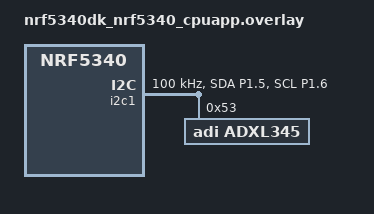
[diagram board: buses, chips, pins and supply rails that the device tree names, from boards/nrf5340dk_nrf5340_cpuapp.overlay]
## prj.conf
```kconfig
# enable c++ support
CONFIG_CPLUSPLUS=y
CONFIG_LIB_CPLUSPLUS=y
CONFIG_NEWLIB_LIBC=y
CONFIG_NEWLIB_LIBC_FLOAT_PRINTF=y

# enable reboot from user space
CONFIG_REBOOT=y

CONFIG_FPU=y
CONFIG_MAIN_STACK_SIZE=8192
CONFIG_HEAP_MEM_POOL_SIZE=2048
CONFIG_SYSTEM_WORKQUEUE_STACK_SIZE=8192

# serial console
CONFIG_UART_INTERRUPT_DRIVEN=y
CONFIG_CONSOLE_SUBSYS=n

# i2c/sensor configuration for accelerometer
CONFIG_I2C=y
CONFIG_SENSOR=y
CONFIG_CBPRINTF_FP_SUPPORT=y

# enable PDM driver
CONFIG_NRFX_PDM=y

CONFIG_ASSERT=y
CONFIG_DEBUG=y
CONFIG_LOG=y
CONFIG_USE_SEGGER_RTT=y
CONFIG_LOG_BACKEND_RTT=y
CONFIG_LOG_BACKEND_UART=n

# External Flash memory
CONFIG_FLASH=y
CONFIG_FLASH_PAGE_LAYOUT=y
CONFIG_MPU_ALLOW_FLASH_WRITE=y
CONFIG_NORDIC_QSPI_NOR=y
CONFIG_NORDIC_QSPI_NOR_FLASH_LAYOUT_PAGE_SIZE=4096

# Enable Bluetooth
CONFIG_BT=y
CONFIG_BT_PERIPHERAL=y
CONFIG_BT_DEVICE_NAME="EdgeImpulse"
CONFIG_BT_DEVICE_APPEARANCE=833
CONFIG_BT_NUS=y

# Enable bonding
CONFIG_BT_SETTINGS=y
CONFIG_FLASH_MAP=y
CONFIG_NVS=y
CONFIG_SETTINGS=y

# Enable DK LED and Buttons library
CONFIG_DK_LIBRARY=y
```

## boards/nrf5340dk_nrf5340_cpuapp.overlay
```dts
/*
 * Copyright (c) 2019 Nordic Semiconductor ASA
 *
 * SPDX-License-Identifier: Apache-2.0
 */


 / {
	aliases {
		accel0 = &adxl345;
	};
};

&pinctrl {
	i2c1_default: i2c1_default {
		group1 {
			psels = <NRF_PSEL(TWIM_SDA, 1, 5)>,
				<NRF_PSEL(TWIM_SCL, 1, 6)>;
		};
	};

	i2c1_sleep: i2c1_sleep {
		group1 {
			psels = <NRF_PSEL(TWIM_SDA, 1, 5)>,
				<NRF_PSEL(TWIM_SCL, 1, 6)>;
			low-power-enable;
		};
	};
};

i2c1: &i2c1 {
	compatible = "nordic,nrf-twim";
	status = "okay";

	pinctrl-0 = <&i2c1_default>;
	pinctrl-1 = <&i2c1_sleep>;
	pinctrl-names = "default", "sleep";
	clock-frequency = <I2C_BITRATE_STANDARD>;  

	adxl345: adxl345@53 {
		compatible = "adi,adxl345";
		reg = <0x53>;
	};
};

// /* These two lines are probably not needed below as I'm not using i2c0 */
// &spi0 {
//     status = "disabled";
// };

// &pwm0 {
//     status = "disabled";
// };
```

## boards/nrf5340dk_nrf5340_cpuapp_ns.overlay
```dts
/*
 * Copyright (c) 2019 Nordic Semiconductor ASA
 *
 * SPDX-License-Identifier: Apache-2.0
 */


 / {
	aliases {
		accel0 = &adxl345;
	};
};

&pinctrl {
	i2c1_default: i2c1_default {
		group1 {
			psels = <NRF_PSEL(TWIM_SDA, 1, 5)>,
					<NRF_PSEL(TWIM_SCL, 1, 6)>;
		};
	};

	i2c1_sleep: i2c1_sleep {
		group1 {
			psels = <NRF_PSEL(TWIM_SDA, 1, 5)>,
					<NRF_PSEL(TWIM_SCL, 1, 6)>;
			low-power-enable;
		};
	};
};

i2c1: &i2c1 {
	compatible = "nordic,nrf-twim";
	status = "okay";

	pinctrl-0 = <&i2c1_default>;
	pinctrl-1 = <&i2c1_sleep>;
	pinctrl-names = "default", "sleep";
	clock-frequency = <I2C_BITRATE_STANDARD>;  

	adxl345: adxl345@53 {
		compatible = "adi,adxl345";
		reg = <0x53>;
	};
};
```

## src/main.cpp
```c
#include <zephyr/kernel.h>
//#include "ei_run_classifier.h"
#include "edge-impulse-sdk/dsp/numpy.hpp"

#include <zephyr/sys/printk.h>
#include "ei_device_nordic_nrf52.h"
#include "ei_zephyr_flash_commands.h"
#include "ei_main.h"


int main(void)
{
    /* This is needed so that output of printf
       is output immediately without buffering
    */
    setvbuf(stdout, NULL, _IONBF, 0);

    /* Initialize board uart */
    if(uart_init() != 0){
        ei_printf("Init uart on board error occured\r\n");
    }

    /** Initialize development board LEDs */
    if(BOARD_ledInit() != 0){
        ei_printf("Init LEDs on board error occured\r\n");
    }

    /* Initialize Zephyr flash device */
    create_flash_device();

    /* Initialize Edge Impuls sensors and commands */
    ei_init();

    while(1){
        ei_main();
    }
}
```
